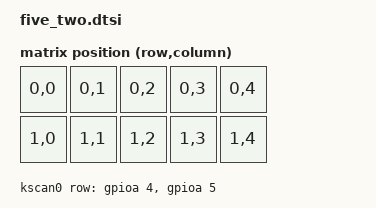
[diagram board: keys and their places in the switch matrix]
/*
 * Copyright (c) 2020 Pete Johanson
 *
 * SPDX-License-Identifier: MIT
 */

#include <dt-bindings/zmk/matrix_transform.h>


/ {
	chosen {
		zmk,kscan = &kscan0;
		zmk,matrix_transform = &default_transform;
	};

	default_transform: keymap_transform_0 {
		compatible = "zmk,matrix-transform";
		columns = <5>;
		rows = <2>;
// | SW1  | SW2  | SW3  | SW4  | SW5  
// | SW6  | SW7  | SW8  | SW9  | SW10 
		map = <
RC(0,0) RC(0,1) RC(0,2) RC(0,3) RC(0,4)
RC(1,0) RC(1,1) RC(1,2) RC(1,3) RC(1,4)
		>;
	};

	kscan0: kscan {
		compatible = "zmk,kscan-gpio-matrix";
		label = "KSCAN";

		diode-direction = "col2row";
		row-gpios
			= <&gpioa 4 (GPIO_ACTIVE_HIGH | GPIO_PULL_DOWN)>
			, <&gpioa 5 (GPIO_ACTIVE_HIGH | GPIO_PULL_DOWN)>
			;
		
	};

};

/* from corne
&pro_micro_i2c {
	status = "okay";

	oled: ssd1306@3c {
		compatible = "solomon,ssd1306fb";
		reg = <0x3c>;
		label = "DISPLAY";
		width = <128>;
		height = <32>;
		segment-offset = <0>;
		page-offset = <0>;
		display-offset = <0>;
		multiplex-ratio = <31>;
		segment-remap;
		com-invdir;
		com-sequential;
		prechargep = <0x22>;
	};
};
*/
